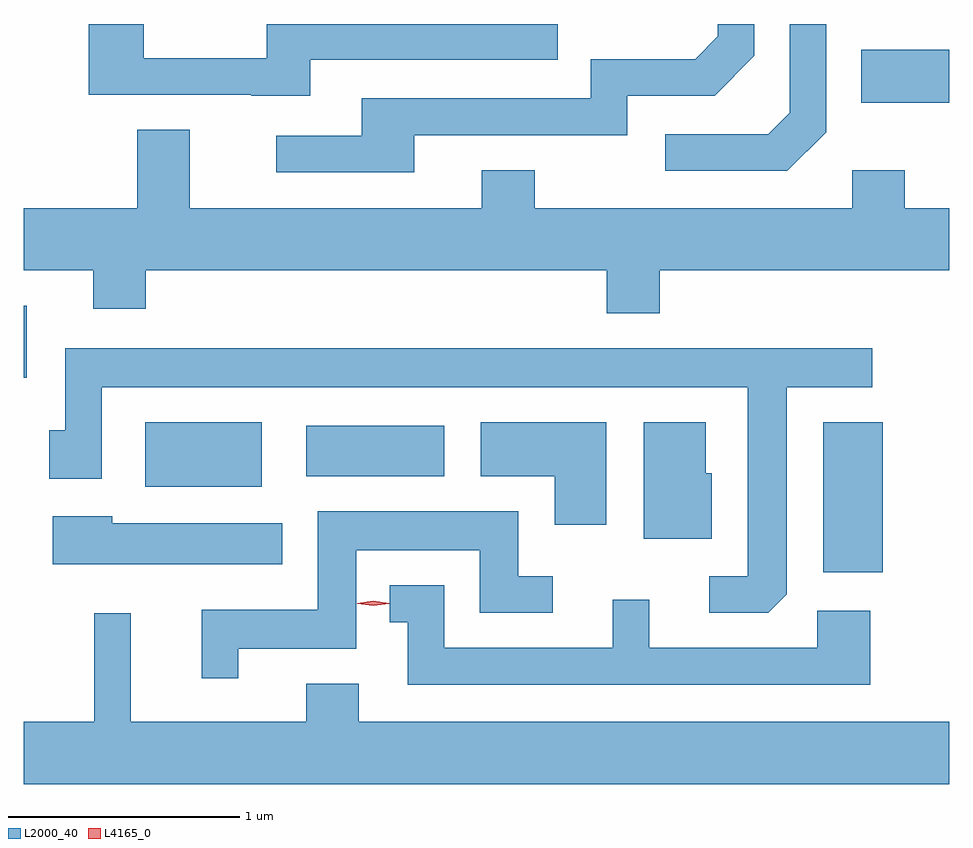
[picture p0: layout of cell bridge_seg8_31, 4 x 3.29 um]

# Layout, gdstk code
import gdstk
lib = gdstk.Library(unit=1e-6, precision=1e-09)
def R(c, l, rs):  # rectangles x0, y0, x1, y1
    for r in rs: c.add(gdstk.rectangle(r[:2], r[2:], *l))
def P(c, l, *ps):  # polygons
    for p in ps: c.add(gdstk.Polygon(p, *l))
L2000_40 = (2000, 40)
L4165_0 = (4165, 0)

bridge_seg8_31 = lib.new_cell('bridge_seg8_31')
R(bridge_seg8_31, L2000_40, [(1489.916,1910.591,1490.174,1911.239), (1486.986,1910.961,1487.489,1911.239), (1487.681,1911.006,1488.279,1911.224), (1486.461,1911.431,1486.474,1911.744), (1490.081,1912.621,1490.461,1912.849)])
P(bridge_seg8_31, L2000_40, [(1488.149,1912.481),(1489.069,1912.481),(1489.069,1912.651),(1489.447,1912.651),(1489.619,1912.824),(1489.619,1912.961),(1489.461,1912.961),(1489.461,1912.907),(1489.364,1912.809),(1488.911,1912.809),(1488.911,1912.639),(1487.921,1912.639),(1487.921,1912.479),(1487.553,1912.479),(1487.553,1912.321),(1488.149,1912.321)],
  [(1487.699,1912.806),(1488.768,1912.806),(1488.768,1912.961),(1487.511,1912.961),(1487.511,1912.814),(1486.979,1912.814),(1486.979,1912.961),(1486.741,1912.961),(1486.741,1912.656),(1487.445,1912.656),(1487.445,1912.651),(1487.699,1912.651)],
  [(1489.929,1912.494),(1489.929,1912.961),(1489.771,1912.961),(1489.771,1912.577),(1489.679,1912.484),(1489.233,1912.484),(1489.233,1912.326),(1489.762,1912.326)],
  [(1489.209,1911.896),(1490.461,1911.896),(1490.461,1912.164),(1490.269,1912.164),(1490.269,1912.329),(1490.041,1912.329),(1490.041,1912.164),(1488.669,1912.164),(1488.669,1912.329),(1488.441,1912.329),(1488.441,1912.164),(1487.179,1912.164),(1487.179,1912.504),(1486.951,1912.504),(1486.951,1912.164),(1486.461,1912.164),(1486.461,1911.896),(1486.761,1911.896),(1486.761,1911.731),(1486.989,1911.731),(1486.989,1911.896),(1488.981,1911.896),(1488.981,1911.711),(1489.209,1911.711)],
  [(1489.759,1910.497),(1489.759,1911.391),(1490.128,1911.391),(1490.128,1911.559),(1486.641,1911.559),(1486.641,1911.204),(1486.571,1911.204),(1486.571,1910.996),(1486.799,1910.996),(1486.799,1911.391),(1489.591,1911.391),(1489.591,1910.574),(1489.423,1910.574),(1489.423,1910.416),(1489.679,1910.416)],
  [(1488.979,1911.239),(1488.436,1911.239),(1488.436,1911.006),(1488.756,1911.006),(1488.756,1910.796),(1488.979,1910.796)],
  [(1489.434,1911.019),(1489.409,1911.019),(1489.409,1911.239),(1489.141,1911.239),(1489.141,1910.736),(1489.434,1910.736)],
  [(1487.389,1910.261),(1487.899,1910.261),(1487.899,1910.686),(1488.431,1910.686),(1488.431,1910.416),(1488.748,1910.416),(1488.748,1910.574),(1488.599,1910.574),(1488.599,1910.854),(1487.731,1910.854),(1487.731,1910.429),(1487.231,1910.429),(1487.231,1910.133),(1487.389,1910.133)],
  [(1487.579,1910.804),(1486.844,1910.804),(1486.844,1910.834),(1486.586,1910.834),(1486.586,1910.626),(1487.579,1910.626)],
  [(1490.119,1910.424),(1489.891,1910.424),(1489.891,1910.264),(1489.164,1910.264),(1489.164,1910.473),(1489.006,1910.473),(1489.006,1910.264),(1488.279,1910.264),(1488.279,1910.534),(1488.043,1910.534),(1488.043,1910.376),(1488.121,1910.376),(1488.121,1910.106),(1490.119,1910.106)],
  [(1490.461,1909.944),(1487.909,1909.944),(1487.909,1910.109),(1487.681,1910.109),(1487.681,1909.944),(1486.924,1909.944),(1486.924,1910.413),(1486.766,1910.413),(1486.766,1909.944),(1486.461,1909.944),(1486.461,1909.676),(1490.461,1909.676)])
P(bridge_seg8_31, L4165_0, [(1487.972,1910.447),(1487.902,1910.456),(1487.902,1910.457),(1487.902,1910.457),(1487.972,1910.467),(1488.041,1910.457),(1488.041,1910.456),(1488.041,1910.456)])

lib.write_gds('bridge_seg8_31.gds')
